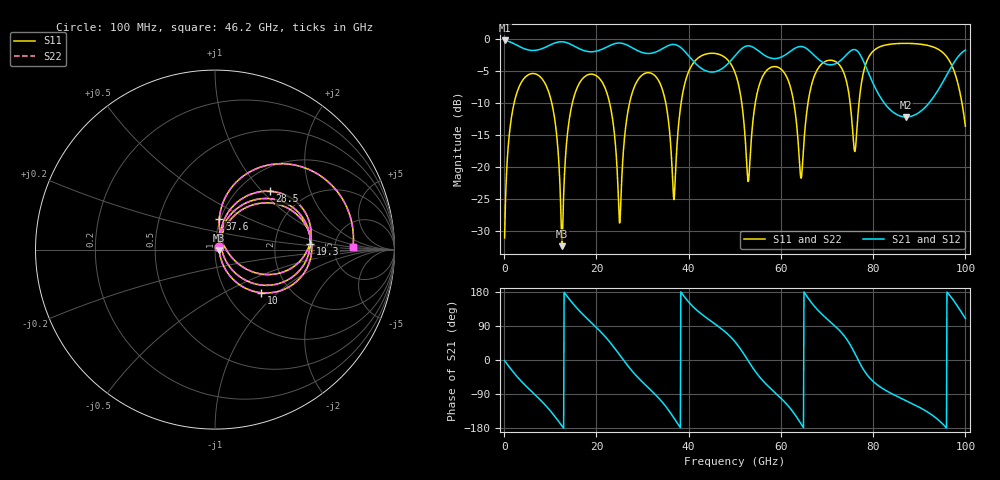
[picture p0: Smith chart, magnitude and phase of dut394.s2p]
! Touchstone file exported from HFSS 2026.1.0
!  File:  C:/ffzhzh/LocalFiles/Ansys_Project_Files/temp_train_TSV_RDL_394_1783719287_45496.aedt
!  Generated:  06:03:00 AM Jul 11, 2026
!  Design:  TSV_RDL
!  Project:  temp_train_TSV_RDL_394_1783719287_45496
! Variables:
!  h_bsmrdl = 3.33um
!  h_ox = 20um
!  h_rdl = 5um
!  h_sub = 59.01um
!  h_tmrdl = 3.18um
!  h_tsv = 59.01um
!  h_via = 3um
!  l_bsmrdl = 683.68um
!  l_sub = 4836.66um
!  l_tmrdl = 561.68um
!  m_sub = 200um
!  pitch = 52.27um
!  r_tsv = 11.8um
!  s_tmrdl = 10um
!  w_bsmrdl = 26.74um
!  w_sub = 500um
!  w_tmrdl = 19.56um
!  x_tsv_center1 = 571.46um
!  x_tsv_center2 = 1281.88um
!  x_tsv_center3 = 1863.12um
!  x_tsv_center4 = 2573.54um
!  x_tsv_center5 = 3154.78um
!  x_tsv_center6 = 3865.2um
# GHz S MA R 50.000000
! Terminal data exported
! Port[1] = TM_RDL1_1_T1
! Port[2] = TM_RDL5_1_T1
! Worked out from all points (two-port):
!   1000 points, 100 MHz to 100 GHz, reference 50 ohm
!   highest |S21| = -0.19 dB at 100 MHz (marker M1); lowest = -12.1 dB at 87.1 GHz (marker M2)
!   |S21| within 3 dB of the highest: start of sweep to 40.71 GHz; 49.33 GHz to 68.24 GHz (18.92 GHz wide, 32.2 % of centre) (the widest 2 of 4)
!   lowest |S11| = -32.3 dB at 12.5 GHz (marker M3), VSWR 1.05, Z = 52.4 - j0.439 ohm
!   |S11| at or under -10 dB: 10.33 GHz to 14.77 GHz (4.438 GHz wide, 35.4 % of centre); 22.89 GHz to 27.18 GHz (4.29 GHz wide, 17.1 % of centre); 35.05 GHz to 38.36 GHz (3.309 GHz wide, 9.02 % of centre) (the widest 3 of 8)
!   |S22| runs from -32.3 to -0.6 dB; largest |S21 - S12| = 1.9e-13
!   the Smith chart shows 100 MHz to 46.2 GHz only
!   S11 on the Smith chart (normalised r, x): 100 MHz: 1.04, +0.04; 10 GHz: 1.44, -0.79; 19.3 GHz: 3.24, +0.28; 28.5 GHz: 1.37, +1.11; 37.6 GHz: 0.99, +0.35; 46.2 GHz: 7.61, +0.53
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0.1  0.02804 37.6  0.9782 -1.7  0.9782 -1.7  0.02804 37.6
! Gamma 0 0 0 0
! Port Impedance 50 0 50 0
3.1  0.4129 38.7  0.8849 -47.9  0.8849 -47.9  0.4129 38.7
10  0.3534 -42.9  0.9031 -134.0  0.9031 -134.0  0.3534 -42.9
12.5  0.02419 -10.0  0.9557 -173.3  0.9557 -173.3  0.02429 -9.9
16.8  0.4821 31.1  0.8276 123.6  0.8276 123.6  0.4821 31.1
19.3  0.5317 3.3  0.7992 94.1  0.7992 94.1  0.5317 3.3
25  0.03674 0.8  0.9339 13.9  0.9339 13.9  0.03654 0.7
28.5  0.4468 46.7  0.829 -39.6  0.829 -39.6  0.4468 46.7
33.4  0.481 -7.2  0.8098 -99.0  0.8098 -99.0  0.4811 -7.1
37.6  0.1727 82.0  0.894 -167.6  0.894 -167.6  0.1726 82.0
46.2  0.7688 1.1  0.5638 90.7  0.5638 90.7  0.7688 1.1
50.1  0.5433 -36.9  0.7463 47.4  0.7463 47.4  0.5435 -36.8
52.9  0.07724 -4.6  0.8885 -1.9  0.8885 -1.9  0.07865 -4.6
58.9  0.6106 2.0  0.7066 -87.9  0.7066 -87.9  0.6107 2.0
64.4  0.08209 13.5  0.8779 -169.0  0.8779 -169.0  0.0821 13.5
66.7  0.4477 51.1  0.7808 150.2  0.7808 150.2  0.4477 51.1
71.5  0.6779 3.2  0.6368 92.3  0.6368 92.3  0.678 3.2
76.2  0.1444 33.8  0.8262 13.3  0.8262 13.3  0.145 33.6
83.4  0.911 2.4  0.2883 -84.8  0.2883 -84.8  0.9109 2.4
87.1  0.9285 -17.2  0.2471 -107.0  0.2471 -107.0  0.9285 -17.3
95  0.7928 -71.9  0.4556 -167.8  0.4556 -167.8  0.7926 -72.0
100  0.2091 -138.8  0.8222 109.5  0.8222 109.5  0.2088 -139.0
